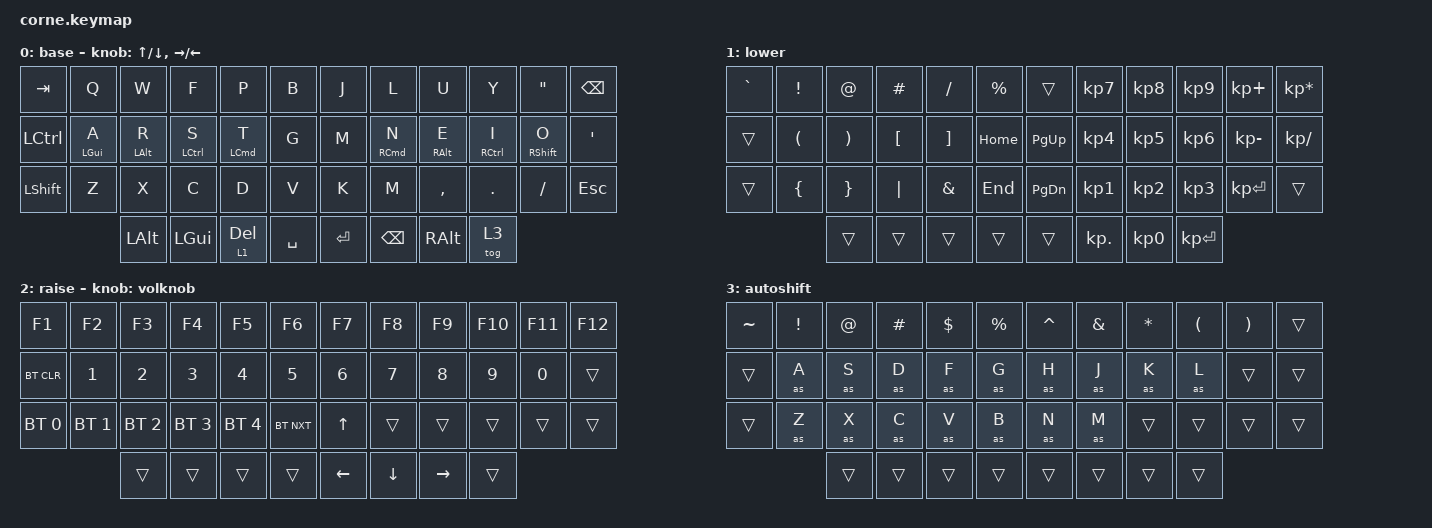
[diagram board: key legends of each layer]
#include <behaviors.dtsi>
#include <dt-bindings/zmk/bt.h>
#include <dt-bindings/zmk/keys.h>
#include <dt-bindings/zmk/rgb.h>

// dt-formatter: indent = "  "
// dt-formatter: multilineIntegerCellsIndent = "reindent"
// dt-formatter: multilineListCommaStyle = "leading"

&sk { /delete-property/ ignore-modifiers; };

/ {
  combos {
    compatible = "zmk,combos";

    tab {
      key-positions = <2 3>;
      bindings = <&kp TAB>;
    };

    ctrl {
      key-positions = <26 27>;
      bindings = <&kp LCTRL>;
    };

    cmd {
      key-positions = <37 38>;
      bindings = <&kp LCMD>;
    };

    alt {
      key-positions = <39 40>;
      bindings = <&kp LEFT_ALT>;
    };

    shift {
      key-positions = <8 9>;
      bindings = <&kp LSHIFT>;
    };

    caps_word {
      key-positions = <17 18>;
      bindings = <&caps_word>;
    };

    delete {
      key-positions = <32 33>;
      bindings = <&kp DEL>;
    };
  };

  behaviors {
    as_ht: autoshift_hold_tap {
      compatible = "zmk,behavior-hold-tap";
      #binding-cells = <2>;
      label = "AUTOSHIFT_HOLD_TAP";
      bindings = <&shift>, <&kp>;

      tapping-term-ms = <190>;
    };

    hml: homewrow_mods_left {
      compatible = "zmk,behavior-hold-tap";
      #binding-cells = <2>;
      label = "HOMEROW_MODS_LEFT_HAND";
      bindings = <&kp>, <&kp>;

      tapping-term-ms = <200>;
      hold-trigger-key-positions = <6 7 8 9 10 11 18 19 20 21 22 23 30 31 32 33 34 35 39 40 41>;
    };

    hmr: homewrow_mods_right {
      compatible = "zmk,behavior-hold-tap";
      #binding-cells = <2>;
      label = "HOMEROW_MODS_RIGHT_HAND";
      bindings = <&kp>, <&kp>;

      tapping-term-ms = <200>;
      hold-trigger-key-positions = <0 1 2 3 4 5 12 13 14 15 16 17 24 25 26 27 28 29 36 37 38>;
    };

    capdance: capdance {
      compatible = "zmk,behavior-tap-dance";
      label = "CAPDANCE";
      #binding-cells = <0>;
      bindings = <&caps_word>, <&kp CAPS>;
    };

    volknob: volume_encoder {
      compatible = "zmk,behavior-sensor-rotate";
      label = "ENCODER_VOLUME_KNOB";
      #sensor-binding-cells = <0>;
      bindings = <&kp C_VOL_UP>, <&kp C_VOL_DN>;
    };

    rgbknob: rgb_encoder {
      compatible = "zmk,behavior-sensor-rotate-var";
      label = "ENCODER_RGB";
      #sensor-binding-cells = <2>;
      bindings = <&rgb_ug>, <&rgb_ug>;
    };
  };

  conditional_layers {
    compatible = "zmk,conditional-layers";

    tri_layer {
      if-layers = <1 3>;
      then-layer = <3>;
    };
  };

  keymap {
    compatible = "zmk,keymap";

    base {
      bindings = <
        &kp TAB    &kp Q        &kp W         &kp F         &kp P        &kp B        &kp J    &kp L          &kp U        &kp Y         &kp DOUBLE_QUOTES  &kp BACKSPACE
        &kp LCTRL  &hml LGUI A  &hml LALT R   &hml LCTRL S  &hml LCMD T  &kp G        &kp M    &hmr RCMD N    &hmr RALT E  &hmr RCTRL I  &hmr RSHFT O       &kp APOS
        &kp LSHFT  &kp Z        &kp X         &kp C         &kp D        &kp V        &kp K    &kp M          &kp COMMA    &kp DOT       &kp FSLH           &kp ESC
                                &kp LEFT_ALT  &kp LGUI      &lt 1 DEL    &kp SPACE    &kp RET  &kp BACKSPACE  &kp RALT     &tog 3
      >;

      sensor-bindings = <&inc_dec_kp UP DOWN>, <&inc_dec_kp RIGHT LEFT>;
    };

    lower {
      bindings = <
        &kp GRAVE  &kp EXCL        &kp AT    &kp HASH  &kp SLASH      &kp PRCNT    &trans         &kp KP_N7        &kp KP_N8        &kp KP_N9        &kp KP_PLUS      &kp KP_MULTIPLY
        &trans     &kp LPAR        &kp RPAR  &kp LBKT  &kp RBKT       &kp HOME     &kp PAGE_UP    &kp KP_NUMBER_4  &kp KP_NUMBER_5  &kp KP_N6        &kp KP_SUBTRACT  &kp KP_DIVIDE
        &trans     &kp LEFT_BRACE  &kp RBRC  &kp PIPE  &kp AMPERSAND  &kp END      &kp PAGE_DOWN  &kp KP_NUMBER_1  &kp KP_NUMBER_2  &kp KP_NUMBER_3  &kp KP_ENTER     &trans
                                   &trans    &trans    &trans         &trans       &trans         &kp KP_DOT       &kp KP_N0        &kp KP_ENTER
      >;
    };

    raise {
      bindings = <
        &kp F1        &kp F2        &kp F3        &kp F4        &kp F5        &kp F6        &kp F7        &kp F8    &kp F9     &kp F10  &kp F11  &kp F12
        &bt BT_CLR    &kp NUMBER_1  &kp NUMBER_2  &kp NUMBER_3  &kp NUMBER_4  &kp N5        &kp NUMBER_6  &kp N7    &kp N8     &kp N9   &kp N0   &trans
        &bt BT_SEL 0  &bt BT_SEL 1  &bt BT_SEL 2  &bt BT_SEL 3  &bt BT_SEL 4  &bt BT_NXT    &kp UP        &trans    &trans     &trans   &trans   &trans
                                    &trans        &trans        &trans        &trans        &kp LEFT      &kp DOWN  &kp RIGHT  &trans
      >;

      sensor-bindings = <&volknob>;
    };

    autoshift {
      bindings = <
        &kp TILDE  &kp EXCL  &kp AT  &kp HASH  &kp DLLR  &kp PRCNT    &kp CARET  &kp AMPS  &kp ASTRK  &kp LPAR  &kp RPAR  &trans
        &trans     &as A     &as S   &as D     &as F     &as G        &as H      &as J     &as K      &as L     &trans    &trans
        &trans     &as Z     &as X   &as C     &as V     &as B        &as N      &as M     &trans     &trans    &trans    &trans
                             &trans  &trans    &trans    &trans       &trans     &trans    &trans     &trans
      >;
    };
  };
};
